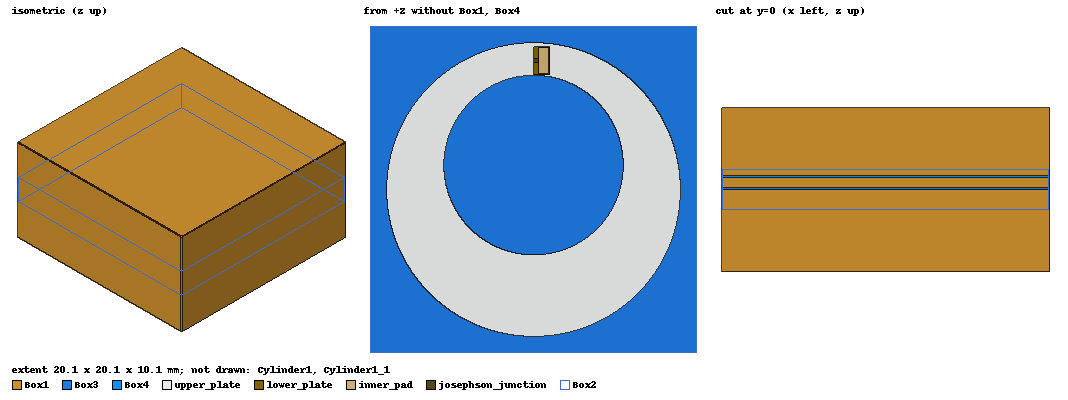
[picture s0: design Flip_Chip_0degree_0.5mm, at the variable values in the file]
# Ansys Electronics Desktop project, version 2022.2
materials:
  vacuum: permittivity=1
  aluminum: permeability=1.000021 conductivity=38000000
  gallium_arsenide: permittivity=12.9
  perfect conductor: conductivity=1e+30
  sapphire: permittivity=10

design Flip_Chip_0degree_0.5mm (HFSS, Eigenmode, model units mm)
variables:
  pad_z = 10mm
  pad_x = 20mm
  delta = 0.1mm
  pad_y = 20mm
  rect_x = 1mm
  radius2 = 5.5mm
  epsilon = 0.5mm
  shift = 1.3mm
  radius1 = 9mm
  shift_cir = 1.5mm
  shift_cir_x = 0mm
  sheet_thickness = 0.0125mm
  offset = 0.2mm
  offset_rect_pad = 0.2mm
  jj_y = 0.2mm
  height = 3.75mm
  radius3 = 1mm
  radius4 = 0.5mm
  Lj = 10nH
  Cj = 5pF
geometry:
  Box1 [perfect conductor] = box(corner=(-pad_x/2 -delta/2, -pad_y/2  - delta/2, -pad_z/2 - delta/2), size=(pad_x + delta, pad_y + delta, pad_z + delta))
  Box2 [vacuum] = box(corner=(-pad_x/2, -pad_y/2, -pad_z/8), size=(pad_x, pad_y, pad_z/4))
  Box2_1 = Box2.copy()
  Box1.subtract(Box2_1)
  upper_plate [aluminum] = circle(normal=Z, centre=(0mm, 0mm, pad_z/8-epsilon), radius=radius1)
  Circle2 = circle(normal=Z, centre=(shift_cir_x, shift_cir, pad_z/8-epsilon), radius=radius2)
  upper_plate.subtract(Circle2)
  Rectangle1 = rectangle(corner=(0, radius2 + shift + 0.5mm/2, pad_z/8-epsilon), x_size=rect_x, y_size=radius1-radius2-shift - 0.5mm)
  upper_plate.subtract(Rectangle1)
  upper_plate.thicken(sheet_thickness)
  Box3 [sapphire] = box(corner=(-pad_x/2, -pad_y/2, pad_z/16 - epsilon - epsilon/4), size=(pad_x, pad_y, epsilon/4))
  lower_plate [aluminum] = circle(normal=Z, centre=(0mm, 0mm, (pad_z/16-epsilon)), radius=radius1)
  Circle4 = circle(normal=Z, centre=(shift_cir_x, shift_cir, (pad_z/16-epsilon)), radius=radius2)
  lower_plate.subtract(Circle4)
  lower_plate.thicken(sheet_thickness)
  inner_pad [aluminum] = rectangle(corner=(rect_x /2- offset_rect_pad, radius2 + shift + offset /2 + offset_rect_pad, pad_z/8-epsilon), x_size=rect_x - offset_rect_pad*2, y_size=radius1-radius2-shift-offset - offset_rect_pad*2)
  inner_pad.thicken(sheet_thickness)
  josephson_junction [gallium_arsenide] = rectangle(corner=(rect_x /2- offset_rect_pad, radius2 + shift + offset /2 + offset_rect_pad  +(radius1-radius2-shift-offset - offset_rect_pad*2)/2 - jj_y /2, pad_z/8-epsilon), x_size=-offset_rect_pad - offset_rect_pad/2, y_size=jj_y)
  Box4 [sapphire] = box(corner=(-pad_x/2, -pad_y/2, pad_z/16+epsilon/4 + sheet_thickness), size=(pad_x, pad_y, epsilon/4))
  Cylinder1 [vacuum] = cylinder(axis=Z, base_centre=(0, -pad_y/4, -pad_z/2), radius=radius3, height=height)
  Cylinder2 [perfect conductor] = cylinder(axis=Z, base_centre=(0mm, -pad_y/4, -pad_z/2), radius=radius4, height=height)
  Cylinder2_1 = Cylinder2.copy()
  Cylinder1.subtract(Cylinder2_1)
  Cylinder1_1 [vacuum] = Cylinder1.duplicate_along_line(step=(0mm, 13mm, 0mm), total=2)
  Cylinder2_2 [perfect conductor] = Cylinder2.duplicate_along_line(step=(0mm, 13mm, 0mm), total=2)
  Circle5 = circle(normal=Z, centre=(0mm, -pad_y/4, -pad_z/2), radius=radius3)
  Circle6 = circle(normal=Z, centre=(0mm, -pad_y/4, -pad_z/2), radius=radius4)
  Circle5.subtract(Circle6)
  Circle5_1 = Circle5.duplicate_along_line(step=(0mm, 13mm, 0mm), total=2)
  Polyline1 = polyline((rect_x /2- offset_rect_pad, radius2 + shift + offset /2 + offset_rect_pad  +(radius1-radius2-shift-offset - offset_rect_pad*2)/2 + jj_y /16, pad_z/8-epsilon) (rect_x /2- offset_rect_pad  + (-offset_rect_pad - offset_rect_pad/2), radius2 + shift + offset /2 + offset_rect_pad  +(radius1-radius2-shift-offset - offset_rect_pad*2)/2 + jj_y /16, pad_z/8-epsilon))
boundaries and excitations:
  PerfE1: Perfect E Objects=upper_plate
  PerfE2: Perfect E Objects=inner_pad
  LumpRLC3: Lumped RLC Objects=Circle5 CurrentLine{(-150mm, -5480mm, -5000mm) -> (-200mm, -5970mm, -5000mm)} RLC_Type=Parallel Resistance=50ohm
  LumpRLC4: Lumped RLC Objects=josephson_junction CurrentLine{(0.3, 7.89, 0.75) -> (10mm, 7900mm, 750mm)} RLC_Type=Parallel Inductance=Lj Capacitance=Cj
  LumpRLC5: Lumped RLC Objects=Circle5_1 CurrentLine{(-150mm, 7520mm, -5000mm) -> (-200mm, 7030mm, -5000mm)} RLC_Type=Parallel Resistance=50ohm
  PerfE3: Perfect E Objects=lower_plate
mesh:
  Length1: LengthBased Objects=upper_plate NumMaxElem=1500 MaxLength=2mm
  Length2: LengthBased Objects=lower_plate NumMaxElem=1500 MaxLength=2mm
  Length3: LengthBased Objects=inner_pad MaxLength=0.1mm
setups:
  Setup1: HfssEigen MinimumFrequency=6GHz NumModes=10 MaxDeltaFreq=0.1 ConvergeOnRealFreq=true MaximumPasses=10 MinimumPasses=1 MinimumConvergedPasses=1 PercentRefinement=30 BasisOrder=1
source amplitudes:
  #-10:1, #-10:2, #-10:4..#-10:10: 0 0deg
  #-10:3: 1 0deg
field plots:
  Mag_E1: E Field on Setup1 : LastAdaptive at Phase=0deg
